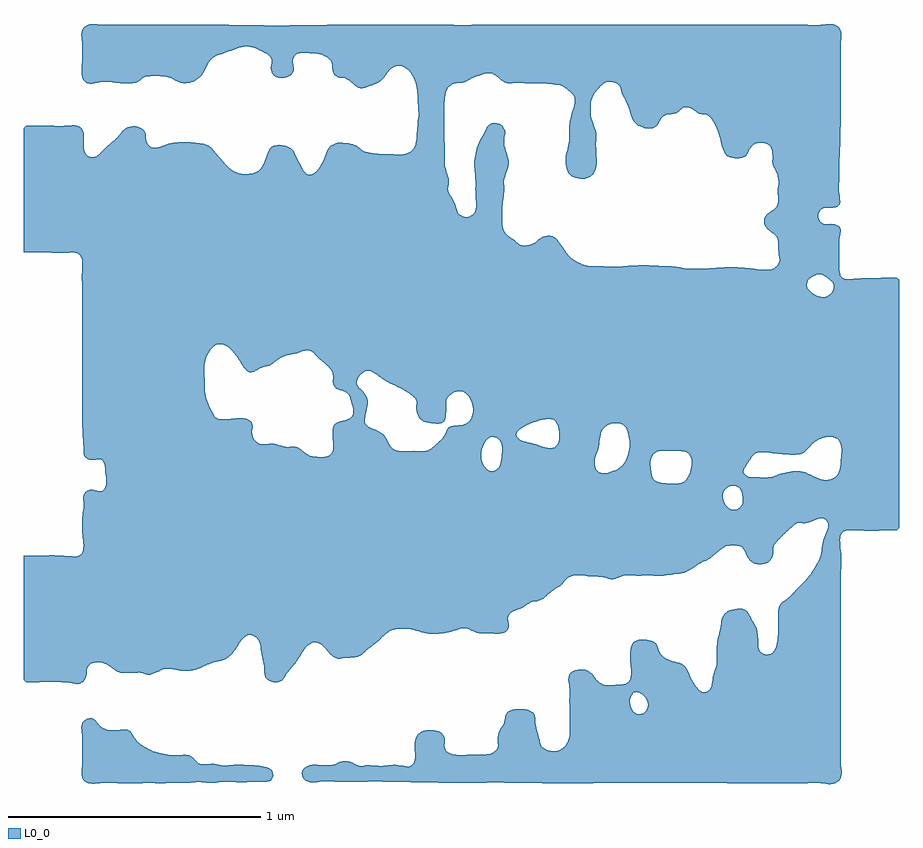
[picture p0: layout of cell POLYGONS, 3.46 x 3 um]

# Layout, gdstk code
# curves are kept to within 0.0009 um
import gdstk
lib = gdstk.Library(unit=1e-6, precision=1e-09)
def R(c, l, rs):  # rectangles x0, y0, x1, y1
    for r in rs: c.add(gdstk.rectangle(r[:2], r[2:], *l))
def P(c, l, *ps):  # polygons
    for p in ps: c.add(gdstk.Polygon(p, *l))
L0_0 = (0, 0)

polygons = lib.new_cell('POLYGONS')
R(polygons, L0_0, [(-0.446,-0.37,-0.29,-0.2), (-0.29,-0.37,-0.13,-0.2), (-0.13,-0.37,0.02,-0.2), (0.159,-0.37,0.293,-0.23), (0.293,-0.37,0.43,-0.23), (-1.499,0.13,-1.3,0.47)])
P(polygons, L0_0, [(-1.47,-1.501),(-1.45,-1.502),(-1.42,-1.499),(-1.36,-1.5),(-1.26,-1.5),(-1.25,-1.499),(-1.17,-1.5),(-1.14,-1.498),(-1.07,-1.499),(-1.04,-1.495),(-1,-1.499),(-0.98,-1.499),(-0.94,-1.494),(-0.89,-1.496),(-0.77,-1.495),(-0.76,-1.493),(-0.755,-1.49),(-0.75,-1.485),(-0.745,-1.47),(-0.746,-1.46),(-0.75,-1.449),(-0.761,-1.44),(-0.77,-1.436),(-0.79,-1.432),(-0.86,-1.427),(-0.9,-1.427),(-0.94,-1.43),(-0.98,-1.423),(-1.03,-1.424),(-1.04,-1.42),(-1.07,-1.393),(-1.08,-1.389),(-1.1,-1.388),(-1.14,-1.39),(-1.16,-1.388),(-1.2,-1.38),(-1.22,-1.373),(-1.24,-1.363),(-1.277,-1.34),(-1.287,-1.33),(-1.305,-1.3),(-1.317,-1.29),(-1.33,-1.287),(-1.36,-1.291),(-1.38,-1.291),(-1.391,-1.29),(-1.41,-1.285),(-1.42,-1.28),(-1.43,-1.272),(-1.45,-1.249),(-1.46,-1.244),(-1.47,-1.243),(-1.48,-1.245),(-1.49,-1.25),(-1.499,-1.26),(-1.502,-1.27),(-1.503,-1.28),(-1.499,-1.32),(-1.499,-1.42),(-1.502,-1.45),(-1.501,-1.47),(-1.499,-1.48),(-1.492,-1.49),(-1.48,-1.498)],
  [(-1.499,1.479),(-1.5,1.475),(-1.501,1.47),(-1.503,1.46),(-1.502,1.45),(-1.501,1.44),(-1.5,1.43),(-1.5,1.429),(-1.499,1.42),(-1.499,1.41)],
  [(-1.499,1.38),(-1.499,1.37),(-1.5,1.36),(-1.5,1.351),(-1.5,1.35),(-1.501,1.34),(-1.501,1.33),(-1.501,1.32),(-1.501,1.31),(-1.501,1.3),(-1.5,1.297),(-1.499,1.292)],
  [(-1.499,1.083),(-1.504,1.09),(-1.51,1.095),(-1.52,1.1),(-1.53,1.101),(-1.58,1.098),(-1.72,1.1),(-1.73,1.09),(-1.73,0.6),(-1.53,0.598),(-1.52,0.596),(-1.51,0.59),(-1.503,0.58),(-1.5,0.57),(-1.499,0.56)],
  [(-1.499,0.45),(-1.499,0.42),(-1.5,0.41),(-1.5,-0.03),(-1.499,-0.04),(-1.499,-0.073),(-1.499,0.544),(-1.499,0.54),(-1.5,0.53),(-1.5,0.52),(-1.501,0.51),(-1.501,0.49),(-1.5,0.48),(-1.5,0.46)],
  [(-1.499,-0.453),(-1.5,-0.46),(-1.5,-0.469),(-1.5,-0.47),(-1.5,-0.48),(-1.5,-0.49),(-1.5,-0.493),(-1.5,-0.5),(-1.499,-0.509)],
  [(-1.51,-1.106),(-1.499,-1.1),(-1.499,-0.587),(-1.5,-0.59),(-1.51,-0.599),(-1.53,-0.604),(-1.61,-0.599),(-1.73,-0.6),(-1.73,-1.09),(-1.72,-1.1),(-1.59,-1.099),(-1.56,-1.101),(-1.52,-1.108)],
  [(-1.45,1.267),(-1.43,1.272),(-1.41,1.274),(-1.39,1.273),(-1.34,1.267),(-1.3,1.268),(-1.3,1.5),(-1.42,1.499),(-1.45,1.502),(-1.47,1.501),(-1.48,1.498),(-1.49,1.492),(-1.499,1.48),(-1.499,1.29),(-1.49,1.275),(-1.48,1.268),(-1.47,1.266)],
  [(-1.3,1.097),(-1.31,1.096),(-1.32,1.093),(-1.33,1.088),(-1.34,1.079),(-1.355,1.06),(-1.375,1.04),(-1.398,1.02),(-1.43,0.988),(-1.442,0.98),(-1.45,0.977),(-1.46,0.976),(-1.47,0.977),(-1.48,0.982),(-1.487,0.99),(-1.49,0.996),(-1.494,1.02),(-1.493,1.05),(-1.494,1.07),(-1.499,1.083),(-1.499,0.47),(-1.3,0.47)],
  [(-1.494,-0.39),(-1.493,-0.4),(-1.499,-0.45),(-1.499,-0.51),(-1.494,-0.56),(-1.496,-0.58),(-1.499,-0.587),(-1.499,-1.1),(-1.49,-1.091),(-1.485,-1.08),(-1.482,-1.07),(-1.481,-1.05),(-1.478,-1.04),(-1.469,-1.03),(-1.46,-1.025),(-1.45,-1.023),(-1.43,-1.022),(-1.402,-1.03),(-1.39,-1.037),(-1.361,-1.06),(-1.35,-1.064),(-1.34,-1.065),(-1.32,-1.063),(-1.3,-1.063),(-1.3,0.13),(-1.499,0.13),(-1.499,-0.09),(-1.494,-0.17),(-1.494,-0.2),(-1.49,-0.21),(-1.48,-0.217),(-1.472,-0.22),(-1.45,-0.221),(-1.43,-0.218),(-1.42,-0.222),(-1.411,-0.24),(-1.404,-0.3),(-1.405,-0.32),(-1.408,-0.33),(-1.41,-0.335),(-1.42,-0.345),(-1.43,-0.346),(-1.46,-0.339),(-1.47,-0.34),(-1.48,-0.344),(-1.488,-0.35),(-1.494,-0.36),(-1.495,-0.37)],
  [(-1.29,1.269),(-1.28,1.273),(-1.26,1.289),(-1.25,1.294),(-1.24,1.296),(-1.2,1.297),(-1.17,1.294),(-1.15,1.289),(-1.13,1.278),(-1.11,1.27),(-1.1,1.268),(-1.073,1.27),(-1.06,1.274),(-1.04,1.287),(-1.028,1.3),(-1.021,1.31),(-1,1.35),(-0.992,1.36),(-0.98,1.371),(-0.98,1.499),(-1.3,1.5),(-1.3,1.268)],
  [(-0.98,1.001),(-0.99,1.012),(-1,1.02),(-1.01,1.025),(-1.02,1.028),(-1.04,1.031),(-1.08,1.035),(-1.11,1.035),(-1.14,1.032),(-1.16,1.028),(-1.18,1.02),(-1.2,1.014),(-1.22,1.013),(-1.23,1.017),(-1.243,1.03),(-1.247,1.04),(-1.249,1.05),(-1.249,1.07),(-1.254,1.08),(-1.26,1.086),(-1.27,1.092),(-1.29,1.097),(-1.3,1.097),(-1.3,0.47),(-0.98,0.47)],
  [(-1.017,0.14),(-1.016,0.16),(-1.01,0.183),(-1,0.203),(-0.988,0.22),(-0.98,0.227),(-0.98,0.47),(-1.3,0.47),(-1.3,0.13),(-1.017,0.13)],
  [(-0.98,-0.044),(-0.993,-0.02),(-1.01,0.02),(-1.015,0.05),(-1.017,0.13),(-1.3,0.13),(-1.3,-0.37),(-0.98,-0.37)],
  [(-1.28,-1.063),(-1.27,-1.064),(-1.24,-1.071),(-1.23,-1.071),(-1.21,-1.064),(-1.18,-1.05),(-1.16,-1.047),(-1.11,-1.055),(-1.09,-1.056),(-1.06,-1.054),(-1.05,-1.052),(-1.01,-1.033),(-0.98,-1.022),(-0.98,-0.37),(-1.3,-0.37),(-1.3,-1.063)],
  [(-0.97,1.377),(-0.874,1.41),(-0.85,1.414),(-0.84,1.413),(-0.82,1.408),(-0.78,1.389),(-0.78,1.497),(-0.98,1.499),(-0.98,1.371)],
  [(-0.78,0.954),(-0.787,0.94),(-0.794,0.93),(-0.806,0.92),(-0.82,0.913),(-0.83,0.91),(-0.85,0.908),(-0.86,0.908),(-0.88,0.911),(-0.901,0.92),(-0.927,0.94),(-0.95,0.968),(-0.972,0.99),(-0.98,1.001),(-0.98,0.47),(-0.78,0.47)],
  [(-0.97,0.233),(-0.96,0.236),(-0.95,0.236),(-0.932,0.23),(-0.92,0.223),(-0.906,0.21),(-0.89,0.19),(-0.86,0.142),(-0.849,0.13),(-0.84,0.126),(-0.83,0.125),(-0.81,0.132),(-0.797,0.14),(-0.78,0.147),(-0.78,0.47),(-0.98,0.47),(-0.98,0.227)],
  [(-0.78,-0.16),(-0.791,-0.16),(-0.8,-0.158),(-0.81,-0.152),(-0.821,-0.14),(-0.826,-0.13),(-0.828,-0.12),(-0.829,-0.11),(-0.826,-0.09),(-0.827,-0.08),(-0.832,-0.07),(-0.84,-0.064),(-0.85,-0.059),(-0.86,-0.057),(-0.89,-0.057),(-0.93,-0.061),(-0.96,-0.06),(-0.97,-0.055),(-0.98,-0.044),(-0.98,-0.37),(-0.78,-0.37)],
  [(-0.97,-1.02),(-0.95,-1.016),(-0.935,-1.01),(-0.92,-1),(-0.909,-0.99),(-0.893,-0.97),(-0.881,-0.95),(-0.866,-0.93),(-0.85,-0.916),(-0.84,-0.913),(-0.83,-0.914),(-0.82,-0.918),(-0.81,-0.925),(-0.799,-0.94),(-0.795,-0.95),(-0.79,-0.99),(-0.78,-1.035),(-0.78,-0.37),(-0.98,-0.37),(-0.98,-1.022)],
  [(-0.7,1.289),(-0.69,1.292),(-0.68,1.297),(-0.676,1.3),(-0.668,1.31),(-0.664,1.32),(-0.663,1.33),(-0.667,1.35),(-0.667,1.36),(-0.664,1.37),(-0.656,1.38),(-0.65,1.384),(-0.63,1.389),(-0.6,1.387),(-0.6,1.498),(-0.69,1.496),(-0.78,1.497),(-0.78,1.389),(-0.76,1.377),(-0.754,1.37),(-0.75,1.361),(-0.75,1.349),(-0.754,1.33),(-0.753,1.32),(-0.75,1.31),(-0.74,1.297),(-0.73,1.291),(-0.71,1.288)],
  [(-0.6,0.906),(-0.61,0.908),(-0.62,0.915),(-0.624,0.92),(-0.666,1),(-0.675,1.01),(-0.68,1.013),(-0.69,1.018),(-0.7,1.021),(-0.72,1.024),(-0.73,1.023),(-0.74,1.021),(-0.75,1.016),(-0.763,1),(-0.78,0.954),(-0.78,0.47),(-0.6,0.47)],
  [(-0.77,0.149),(-0.76,0.151),(-0.75,0.156),(-0.72,0.179),(-0.69,0.193),(-0.66,0.198),(-0.627,0.21),(-0.61,0.212),(-0.6,0.211),(-0.6,0.47),(-0.78,0.47),(-0.78,0.147)],
  [(-0.6,-0.205),(-0.61,-0.2),(-0.64,-0.177),(-0.65,-0.172),(-0.66,-0.169),(-0.69,-0.171),(-0.73,-0.16),(-0.75,-0.157),(-0.76,-0.157),(-0.78,-0.16),(-0.78,-0.37),(-0.6,-0.37)],
  [(-0.73,-1.101),(-0.72,-1.099),(-0.71,-1.094),(-0.706,-1.09),(-0.7,-1.083),(-0.686,-1.06),(-0.66,-1.029),(-0.65,-1.015),(-0.621,-0.97),(-0.61,-0.957),(-0.6,-0.95),(-0.6,-0.37),(-0.78,-0.37),(-0.78,-1.035),(-0.779,-1.06),(-0.778,-1.07),(-0.775,-1.08),(-0.767,-1.09),(-0.76,-1.095),(-0.75,-1.099),(-0.74,-1.101)],
  [(-0.6,-1.429),(-0.62,-1.439),(-0.629,-1.45),(-0.631,-1.46),(-0.63,-1.47),(-0.625,-1.48),(-0.62,-1.486),(-0.61,-1.493),(-0.6,-1.497)],
  [(-0.446,1.499),(-0.6,1.498),(-0.6,1.387),(-0.59,1.387),(-0.56,1.383),(-0.55,1.38),(-0.53,1.37),(-0.519,1.36),(-0.514,1.35),(-0.51,1.319),(-0.507,1.31),(-0.501,1.3),(-0.49,1.292),(-0.46,1.287),(-0.446,1.28)],
  [(-0.446,1.03),(-0.47,1.032),(-0.49,1.032),(-0.51,1.025),(-0.52,1.017),(-0.531,1),(-0.546,0.96),(-0.56,0.936),(-0.57,0.923),(-0.58,0.913),(-0.59,0.908),(-0.6,0.906),(-0.6,0.47),(-0.446,0.47)],
  [(-0.5,0.065),(-0.49,0.057),(-0.46,0.048),(-0.45,0.041),(-0.446,0.036),(-0.446,0.47),(-0.6,0.47),(-0.6,0.211),(-0.59,0.206),(-0.583,0.2),(-0.564,0.18),(-0.53,0.151),(-0.52,0.14),(-0.51,0.121),(-0.508,0.11),(-0.509,0.09),(-0.508,0.08),(-0.504,0.07)],
  [(-0.53,-0.208),(-0.54,-0.21),(-0.56,-0.211),(-0.58,-0.21),(-0.6,-0.205),(-0.6,-0.37),(-0.446,-0.37),(-0.446,-0.059),(-0.46,-0.065),(-0.49,-0.072),(-0.502,-0.08),(-0.508,-0.09),(-0.51,-0.1),(-0.508,-0.18),(-0.51,-0.19),(-0.516,-0.2),(-0.52,-0.204)],
  [(-0.58,-0.943),(-0.57,-0.944),(-0.55,-0.954),(-0.52,-0.988),(-0.51,-0.998),(-0.5,-1.004),(-0.49,-1.008),(-0.446,-1.003),(-0.446,-0.37),(-0.6,-0.37),(-0.6,-0.95),(-0.59,-0.945)],
  [(-0.58,-1.497),(-0.56,-1.494),(-0.53,-1.492),(-0.49,-1.495),(-0.446,-1.494),(-0.446,-1.415),(-0.47,-1.413),(-0.48,-1.415),(-0.5,-1.424),(-0.51,-1.427),(-0.53,-1.429),(-0.55,-1.429),(-0.58,-1.426),(-0.6,-1.429),(-0.6,-1.497),(-0.59,-1.498)],
  [(-0.38,1.25),(-0.34,1.265),(-0.32,1.277),(-0.31,1.287),(-0.29,1.314),(-0.29,1.5),(-0.446,1.499),(-0.446,1.28),(-0.42,1.258),(-0.408,1.25),(-0.4,1.247),(-0.39,1.247)],
  [(-0.29,0.987),(-0.32,0.987),(-0.35,0.99),(-0.38,0.996),(-0.39,1),(-0.42,1.023),(-0.43,1.027),(-0.446,1.03),(-0.446,0.47),(-0.29,0.47)],
  [(-0.415,0.09),(-0.41,0.102),(-0.4,0.115),(-0.38,0.129),(-0.37,0.131),(-0.36,0.13),(-0.35,0.126),(-0.328,0.11),(-0.29,0.086),(-0.29,0.47),(-0.446,0.47),(-0.446,0.08),(-0.415,0.08)],
  [(-0.29,-0.152),(-0.302,-0.13),(-0.311,-0.12),(-0.325,-0.11),(-0.37,-0.089),(-0.379,-0.08),(-0.383,-0.07),(-0.383,-0.06),(-0.376,-0.03),(-0.371,0),(-0.371,0.01),(-0.373,0.02),(-0.377,0.03),(-0.382,0.04),(-0.39,0.05),(-0.402,0.06),(-0.411,0.07),(-0.415,0.08),(-0.446,0.08),(-0.446,0.036),(-0.44,0.024),(-0.43,-0.009),(-0.428,-0.02),(-0.43,-0.043),(-0.434,-0.05),(-0.44,-0.056),(-0.446,-0.059),(-0.446,-0.2),(-0.29,-0.2)],
  [(-0.44,-1.003),(-0.413,-1),(-0.4,-0.996),(-0.37,-0.97),(-0.34,-0.947),(-0.302,-0.91),(-0.29,-0.902),(-0.29,-0.37),(-0.446,-0.37),(-0.446,-1.003)],
  [(-0.39,-1.495),(-0.36,-1.493),(-0.29,-1.494),(-0.29,-1.429),(-0.3,-1.431),(-0.32,-1.432),(-0.37,-1.428),(-0.38,-1.429),(-0.39,-1.432),(-0.4,-1.432),(-0.41,-1.429),(-0.43,-1.419),(-0.446,-1.415),(-0.446,-1.494)],
  [(-0.28,1.325),(-0.26,1.335),(-0.24,1.336),(-0.23,1.333),(-0.223,1.33),(-0.209,1.32),(-0.2,1.31),(-0.188,1.29),(-0.18,1.267),(-0.176,1.25),(-0.173,1.22),(-0.17,1.14),(-0.178,1.04),(-0.18,1.028),(-0.19,1.006),(-0.2,0.997),(-0.21,0.992),(-0.23,0.987),(-0.24,0.986),(-0.29,0.987),(-0.29,0.47),(-0.13,0.47),(-0.13,1.499),(-0.29,1.5),(-0.29,1.314)],
  [(-0.13,0.47),(-0.29,0.47),(-0.29,0.086),(-0.27,0.075),(-0.237,0.06),(-0.22,0.05),(-0.191,0.03),(-0.181,0.02),(-0.177,0.01),(-0.178,-0.02),(-0.174,-0.04),(-0.17,-0.05),(-0.164,-0.06),(-0.15,-0.07),(-0.13,-0.075)],
  [(-0.13,-0.183),(-0.15,-0.188),(-0.19,-0.186),(-0.23,-0.188),(-0.25,-0.186),(-0.26,-0.184),(-0.27,-0.179),(-0.28,-0.169),(-0.29,-0.152),(-0.29,-0.2),(-0.13,-0.2)],
  [(-0.28,-0.897),(-0.25,-0.89),(-0.22,-0.889),(-0.19,-0.894),(-0.17,-0.9),(-0.13,-0.908),(-0.13,-0.37),(-0.29,-0.37),(-0.29,-0.902)],
  [(-0.16,-1.496),(-0.13,-1.496),(-0.13,-1.29),(-0.15,-1.293),(-0.16,-1.297),(-0.17,-1.305),(-0.174,-1.31),(-0.18,-1.322),(-0.183,-1.33),(-0.185,-1.35),(-0.182,-1.4),(-0.184,-1.41),(-0.19,-1.423),(-0.2,-1.431),(-0.21,-1.434),(-0.26,-1.427),(-0.29,-1.429),(-0.29,-1.494)],
  [(-0.069,1.16),(-0.069,1.18),(-0.066,1.21),(-0.06,1.238),(-0.054,1.25),(-0.04,1.261),(-0.03,1.265),(-0.01,1.269),(0,1.269),(0.01,1.271),(0.02,1.276),(0.02,1.498),(-0.13,1.499),(-0.13,1.15),(-0.069,1.15)],
  [(0.02,0.738),(0.007,0.74),(0,0.743),(-0.01,0.75),(-0.016,0.76),(-0.025,0.79),(-0.03,0.801),(-0.048,0.83),(-0.052,0.84),(-0.054,0.85),(-0.053,0.86),(-0.05,0.87),(-0.051,0.89),(-0.066,0.94),(-0.067,0.95),(-0.066,1.01),(-0.068,1.04),(-0.069,1.15),(-0.13,1.15),(-0.13,0.47),(0.02,0.47)],
  [(-0.09,-0.078),(-0.08,-0.076),(-0.07,-0.07),(-0.065,-0.06),(-0.061,-0.03),(-0.061,0.01),(-0.058,0.02),(-0.051,0.03),(-0.04,0.039),(-0.03,0.045),(-0.01,0.05),(0,0.049),(0.01,0.046),(0.02,0.039),(0.02,0.47),(-0.13,0.47),(-0.13,-0.075),(-0.12,-0.077)],
  [(-0.071,-0.13),(-0.078,-0.14),(-0.11,-0.17),(-0.12,-0.178),(-0.13,-0.183),(-0.13,-0.2),(0.02,-0.2),(0.02,-0.076),(0.01,-0.081),(0,-0.084),(-0.03,-0.087),(-0.044,-0.09),(-0.05,-0.093),(-0.056,-0.1)],
  [(-0.1,-0.909),(-0.06,-0.905),(-0.04,-0.901),(0,-0.888),(0.01,-0.887),(0.02,-0.888),(0.02,-0.37),(-0.13,-0.37),(-0.13,-0.908)],
  [(0.02,-1.388),(-0.01,-1.389),(-0.03,-1.387),(-0.051,-1.38),(-0.06,-1.373),(-0.067,-1.36),(-0.068,-1.35),(-0.066,-1.33),(-0.067,-1.32),(-0.07,-1.313),(-0.08,-1.3),(-0.09,-1.295),(-0.1,-1.292),(-0.13,-1.29),(-0.13,-1.496),(-0.09,-1.498),(0.02,-1.498)],
  [(0.026,1.28),(0.05,1.292),(0.09,1.305),(0.11,1.308),(0.12,1.307),(0.13,1.302),(0.147,1.29),(0.159,1.279),(0.159,1.5),(0.02,1.498),(0.02,1.276)],
  [(0.159,1.101),(0.15,1.107),(0.14,1.11),(0.13,1.111),(0.12,1.109),(0.11,1.104),(0.1,1.093),(0.084,1.06),(0.072,1.04),(0.064,1.02),(0.058,1),(0.051,0.96),(0.051,0.94),(0.056,0.88),(0.055,0.85),(0.058,0.8),(0.057,0.77),(0.054,0.76),(0.047,0.75),(0.03,0.74),(0.02,0.738),(0.02,0.47),(0.159,0.47)],
  [(0.159,0.47),(0.02,0.47),(0.02,0.039),(0.03,0.027),(0.039,0.01),(0.043,0),(0.046,-0.02),(0.046,-0.03),(0.04,-0.053),(0.03,-0.068),(0.02,-0.076),(0.02,-0.12),(0.159,-0.12)],
  [(0.079,-0.19),(0.084,-0.17),(0.09,-0.156),(0.1,-0.141),(0.11,-0.133),(0.12,-0.13),(0.13,-0.131),(0.14,-0.134),(0.148,-0.14),(0.156,-0.15),(0.159,-0.163),(0.159,-0.12),(0.02,-0.12),(0.02,-0.2),(0.078,-0.2)],
  [(0.15,-0.248),(0.139,-0.26),(0.13,-0.264),(0.12,-0.266),(0.11,-0.264),(0.1,-0.258),(0.086,-0.24),(0.079,-0.22),(0.078,-0.2),(0.02,-0.2),(0.02,-0.37),(0.159,-0.37),(0.159,-0.21),(0.154,-0.24)],
  [(0.15,-0.908),(0.159,-0.907),(0.159,-0.37),(0.02,-0.37),(0.02,-0.888),(0.05,-0.901),(0.07,-0.906)],
  [(0.03,-1.498),(0.159,-1.497),(0.159,-1.278),(0.15,-1.294),(0.143,-1.32),(0.145,-1.35),(0.143,-1.36),(0.137,-1.37),(0.13,-1.376),(0.12,-1.382),(0.11,-1.385),(0.09,-1.387),(0.08,-1.386),(0.02,-1.388),(0.02,-1.498)],
  [(0.28,1.267),(0.293,1.267),(0.293,1.5),(0.159,1.5),(0.159,1.279),(0.174,1.27),(0.19,1.267),(0.22,1.27),(0.26,1.267)],
  [(0.293,0.64),(0.273,0.63),(0.26,0.627),(0.25,0.626),(0.24,0.627),(0.23,0.63),(0.21,0.646),(0.19,0.659),(0.177,0.67),(0.17,0.68),(0.163,0.7),(0.161,0.72),(0.162,0.78),(0.17,0.85),(0.168,0.88),(0.172,0.9),(0.182,0.93),(0.186,0.95),(0.186,0.96),(0.17,1.02),(0.169,1.05),(0.171,1.06),(0.172,1.08),(0.168,1.09),(0.161,1.1),(0.159,1.101),(0.159,0.47),(0.293,0.47)],
  [(0.22,-0.112),(0.231,-0.1),(0.246,-0.09),(0.27,-0.078),(0.293,-0.07),(0.293,0.47),(0.159,0.47),(0.159,-0.12),(0.217,-0.12)],
  [(0.293,-0.16),(0.27,-0.153),(0.25,-0.149),(0.228,-0.14),(0.219,-0.13),(0.217,-0.12),(0.159,-0.12),(0.159,-0.163),(0.161,-0.17),(0.159,-0.23),(0.293,-0.23)],
  [(0.16,-0.907),(0.17,-0.904),(0.176,-0.9),(0.184,-0.89),(0.187,-0.88),(0.187,-0.87),(0.182,-0.85),(0.184,-0.84),(0.19,-0.829),(0.2,-0.822),(0.23,-0.811),(0.25,-0.801),(0.27,-0.786),(0.28,-0.782),(0.293,-0.78),(0.293,-0.37),(0.159,-0.37),(0.159,-0.907)],
  [(0.293,-1.27),(0.292,-1.25),(0.289,-1.23),(0.28,-1.219),(0.27,-1.213),(0.261,-1.21),(0.24,-1.207),(0.21,-1.208),(0.2,-1.21),(0.19,-1.214),(0.181,-1.22),(0.174,-1.23),(0.169,-1.26),(0.165,-1.27),(0.159,-1.278),(0.159,-1.497),(0.293,-1.499)],
  [(0.43,1.5),(0.293,1.5),(0.293,1.267),(0.32,1.268),(0.391,1.26),(0.41,1.25),(0.43,1.234)],
  [(0.43,1.121),(0.429,1.12),(0.426,1.09),(0.427,1.05),(0.425,1.03),(0.421,1.01),(0.415,0.99),(0.412,0.97),(0.413,0.95),(0.417,0.93),(0.42,0.92),(0.425,0.91),(0.43,0.905)],
  [(0.43,0.58),(0.413,0.6),(0.393,0.63),(0.38,0.646),(0.37,0.656),(0.36,0.662),(0.35,0.665),(0.34,0.665),(0.33,0.663),(0.31,0.653),(0.293,0.64),(0.293,0.47),(0.43,0.47)],
  [(0.43,0.47),(0.293,0.47),(0.293,-0.07),(0.33,-0.06),(0.35,-0.059),(0.36,-0.061),(0.37,-0.067),(0.379,-0.08),(0.385,-0.1),(0.387,-0.12),(0.387,-0.13),(0.384,-0.15),(0.38,-0.16),(0.37,-0.171),(0.36,-0.174),(0.35,-0.175),(0.34,-0.174),(0.32,-0.17),(0.293,-0.16),(0.293,-0.23),(0.43,-0.23)],
  [(0.296,-0.78),(0.31,-0.777),(0.33,-0.765),(0.357,-0.74),(0.37,-0.731),(0.39,-0.721),(0.42,-0.688),(0.43,-0.683),(0.43,-0.37),(0.293,-0.37),(0.293,-0.78)],
  [(0.428,-1.2),(0.429,-1.29),(0.428,-1.31),(0.426,-1.32),(0.42,-1.339),(0.413,-1.35),(0.403,-1.36),(0.39,-1.368),(0.38,-1.372),(0.37,-1.374),(0.36,-1.374),(0.342,-1.37),(0.323,-1.36),(0.32,-1.357),(0.314,-1.35),(0.293,-1.27),(0.293,-1.499),(0.43,-1.5),(0.43,-1.067),(0.427,-1.07),(0.424,-1.08),(0.423,-1.09),(0.429,-1.14),(0.427,-1.17)],
  [(0.49,0.891),(0.5,0.894),(0.51,0.899),(0.52,0.908),(0.53,0.927),(0.533,0.94),(0.534,0.97),(0.531,1.02),(0.533,1.07),(0.52,1.109),(0.512,1.14),(0.512,1.19),(0.516,1.21),(0.52,1.22),(0.53,1.234),(0.55,1.257),(0.56,1.265),(0.57,1.271),(0.58,1.273),(0.58,1.5),(0.43,1.5),(0.43,1.234),(0.443,1.22),(0.447,1.21),(0.448,1.2),(0.443,1.17),(0.436,1.15),(0.43,1.123),(0.43,0.905),(0.436,0.9),(0.45,0.894),(0.47,0.891)],
  [(0.58,0.543),(0.52,0.544),(0.49,0.548),(0.48,0.551),(0.45,0.565),(0.44,0.571),(0.43,0.58),(0.43,0.47),(0.58,0.47)],
  [(0.527,-0.22),(0.529,-0.21),(0.541,-0.18),(0.546,-0.14),(0.553,-0.11),(0.559,-0.1),(0.57,-0.089),(0.58,-0.083),(0.58,0.47),(0.43,0.47),(0.43,-0.23),(0.526,-0.23)],
  [(0.58,-0.272),(0.57,-0.275),(0.56,-0.275),(0.55,-0.273),(0.54,-0.269),(0.53,-0.256),(0.526,-0.24),(0.526,-0.23),(0.43,-0.23),(0.43,-0.37),(0.58,-0.37)],
  [(0.58,-0.37),(0.43,-0.37),(0.43,-0.683),(0.44,-0.679),(0.45,-0.677),(0.47,-0.677),(0.5,-0.681),(0.53,-0.682),(0.56,-0.685),(0.58,-0.691)],
  [(0.58,-1.112),(0.57,-1.112),(0.56,-1.11),(0.55,-1.105),(0.533,-1.09),(0.518,-1.07),(0.5,-1.056),(0.49,-1.052),(0.48,-1.051),(0.46,-1.052),(0.45,-1.054),(0.44,-1.058),(0.43,-1.066),(0.43,-1.18),(0.58,-1.18)],
  [(0.43,-1.5),(0.58,-1.499),(0.58,-1.18),(0.43,-1.18)],
  [(0.733,1.499),(0.58,1.5),(0.58,1.273),(0.59,1.273),(0.61,1.269),(0.623,1.26),(0.629,1.25),(0.634,1.23),(0.638,1.22),(0.66,1.177),(0.671,1.14),(0.68,1.12),(0.69,1.107),(0.699,1.1),(0.72,1.091),(0.73,1.089),(0.733,1.089)],
  [(0.733,0.548),(0.7,0.548),(0.61,0.542),(0.58,0.543),(0.58,0.47),(0.733,0.47)],
  [(0.59,-0.079),(0.6,-0.076),(0.62,-0.076),(0.63,-0.078),(0.64,-0.083),(0.648,-0.09),(0.654,-0.1),(0.66,-0.123),(0.665,-0.15),(0.665,-0.17),(0.664,-0.18),(0.659,-0.2),(0.651,-0.22),(0.64,-0.239),(0.629,-0.25),(0.61,-0.262),(0.58,-0.272),(0.58,-0.37),(0.733,-0.37),(0.733,0.47),(0.58,0.47),(0.58,-0.083)],
  [(0.6,-0.693),(0.61,-0.691),(0.637,-0.68),(0.65,-0.677),(0.67,-0.677),(0.69,-0.679),(0.733,-0.678),(0.733,-0.37),(0.58,-0.37),(0.58,-0.691),(0.59,-0.694)],
  [(0.666,-1.17),(0.67,-1.158),(0.68,-1.143),(0.69,-1.139),(0.7,-1.141),(0.716,-1.15),(0.733,-1.169),(0.733,-0.933),(0.73,-0.932),(0.7,-0.933),(0.684,-0.94),(0.68,-0.943),(0.675,-0.95),(0.671,-0.96),(0.668,-0.98),(0.668,-1.02),(0.671,-1.05),(0.671,-1.07),(0.67,-1.08),(0.667,-1.09),(0.66,-1.1),(0.65,-1.106),(0.64,-1.109),(0.62,-1.111),(0.58,-1.112),(0.58,-1.18),(0.666,-1.18)],
  [(0.6,-1.499),(0.733,-1.499),(0.733,-1.21),(0.72,-1.223),(0.71,-1.226),(0.7,-1.227),(0.69,-1.225),(0.683,-1.22),(0.675,-1.21),(0.67,-1.2),(0.667,-1.19),(0.666,-1.18),(0.58,-1.18),(0.58,-1.499)],
  [(0.75,1.089),(0.76,1.091),(0.77,1.098),(0.779,1.11),(0.79,1.13),(0.802,1.14),(0.81,1.143),(0.84,1.147),(0.85,1.15),(0.87,1.167),(0.88,1.172),(0.89,1.173),(0.903,1.17),(0.91,1.166),(0.91,1.5),(0.733,1.499),(0.733,1.089),(0.74,1.088)],
  [(0.91,0.534),(0.88,0.536),(0.85,0.542),(0.83,0.544),(0.733,0.548),(0.733,0.47),(0.91,0.47)],
  [(0.747,-0.23),(0.748,-0.22),(0.758,-0.2),(0.771,-0.19),(0.79,-0.185),(0.83,-0.185),(0.88,-0.188),(0.89,-0.192),(0.901,-0.2),(0.907,-0.21),(0.91,-0.22),(0.91,-0.226),(0.91,0.47),(0.733,0.47),(0.733,-0.24),(0.747,-0.24)],
  [(0.9,-0.28),(0.888,-0.3),(0.88,-0.307),(0.87,-0.312),(0.85,-0.315),(0.82,-0.315),(0.78,-0.31),(0.77,-0.306),(0.761,-0.3),(0.754,-0.29),(0.747,-0.24),(0.733,-0.24),(0.733,-0.37),(0.91,-0.37),(0.91,-0.239),(0.907,-0.26)],
  [(0.79,-0.68),(0.87,-0.67),(0.89,-0.663),(0.91,-0.652),(0.91,-0.37),(0.733,-0.37),(0.733,-0.678)],
  [(0.91,-1.09),(0.891,-1.05),(0.88,-1.036),(0.87,-1.028),(0.86,-1.024),(0.83,-1.016),(0.81,-1.008),(0.8,-1.002),(0.788,-0.99),(0.782,-0.98),(0.771,-0.95),(0.759,-0.94),(0.75,-0.936),(0.733,-0.933),(0.733,-1.17),(0.737,-1.18),(0.738,-1.19),(0.737,-1.2),(0.733,-1.21),(0.733,-1.499),(0.91,-1.499)],
  [(1.1,0.971),(1.1,1.499),(0.91,1.5),(0.91,1.166),(0.94,1.148),(0.97,1.144),(0.98,1.138),(1,1.111),(1.01,1.09),(1.02,1.061),(1.03,1.019),(1.036,1),(1.041,0.99),(1.05,0.98),(1.06,0.976),(1.07,0.973)],
  [(1.1,0.539),(1.06,0.541),(0.97,0.535),(0.91,0.534),(0.91,0.47),(1.1,0.47)],
  [(1.1,0.47),(0.91,0.47),(0.91,-0.226),(0.91,-0.23),(0.91,-0.239),(0.91,-0.27),(1.1,-0.27)],
  [(1.032,-0.36),(1.035,-0.35),(1.041,-0.34),(1.052,-0.33),(1.06,-0.326),(1.07,-0.324),(1.08,-0.324),(1.09,-0.327),(1.1,-0.334),(1.1,-0.27),(0.91,-0.27),(0.91,-0.37),(1.032,-0.37)],
  [(0.914,-0.65),(0.95,-0.627),(0.968,-0.62),(0.98,-0.613),(1.04,-0.565),(1.05,-0.561),(1.07,-0.559),(1.091,-0.56),(1.1,-0.562),(1.1,-0.411),(1.09,-0.416),(1.08,-0.419),(1.07,-0.418),(1.06,-0.414),(1.05,-0.406),(1.038,-0.39),(1.034,-0.38),(1.032,-0.37),(0.91,-0.37),(0.91,-0.652)],
  [(1.1,-0.81),(1.08,-0.812),(1.06,-0.816),(1.051,-0.82),(1.04,-0.83),(1.03,-0.85),(1.027,-0.87),(1.012,-0.94),(1.01,-0.959),(1.009,-1.03),(1.007,-1.04),(0.994,-1.08),(0.992,-1.1),(0.988,-1.12),(0.98,-1.133),(0.97,-1.138),(0.96,-1.14),(0.95,-1.138),(0.94,-1.132),(0.929,-1.12),(0.91,-1.09),(0.91,-1.499),(1.1,-1.5)],
  [(1.12,0.977),(1.13,0.988),(1.141,1.01),(1.15,1.021),(1.16,1.028),(1.17,1.031),(1.18,1.032),(1.2,1.031),(1.21,1.027),(1.219,1.02),(1.225,1.01),(1.228,1),(1.23,0.98),(1.229,0.96),(1.23,0.949),(1.236,0.933),(1.236,1.499),(1.1,1.499),(1.1,0.971),(1.11,0.973)],
  [(1.236,0.77),(1.208,0.75),(1.201,0.74),(1.198,0.73),(1.197,0.72),(1.198,0.71),(1.21,0.69),(1.236,0.67)],
  [(1.236,0.537),(1.22,0.531),(1.19,0.53),(1.17,0.533),(1.1,0.539),(1.1,0.47),(1.236,0.47)],
  [(1.116,-0.26),(1.12,-0.251),(1.13,-0.235),(1.148,-0.21),(1.16,-0.198),(1.17,-0.193),(1.18,-0.191),(1.2,-0.191),(1.236,-0.196),(1.236,0.47),(1.1,0.47),(1.1,-0.27),(1.115,-0.27)],
  [(1.19,-0.634),(1.2,-0.632),(1.21,-0.628),(1.22,-0.619),(1.231,-0.6),(1.232,-0.57),(1.236,-0.558),(1.236,-0.286),(1.221,-0.29),(1.2,-0.292),(1.14,-0.29),(1.13,-0.287),(1.121,-0.28),(1.115,-0.27),(1.1,-0.27),(1.1,-0.334),(1.104,-0.34),(1.11,-0.355),(1.113,-0.37),(1.112,-0.39),(1.11,-0.397),(1.109,-0.4),(1.1,-0.411),(1.1,-0.562),(1.11,-0.567),(1.113,-0.57),(1.13,-0.604),(1.14,-0.618),(1.15,-0.627),(1.16,-0.632),(1.17,-0.634),(1.18,-0.635)],
  [(1.236,-1.5),(1.236,-0.976),(1.23,-0.984),(1.22,-0.989),(1.21,-0.991),(1.2,-0.99),(1.19,-0.986),(1.182,-0.98),(1.176,-0.97),(1.174,-0.96),(1.171,-0.91),(1.167,-0.89),(1.163,-0.88),(1.14,-0.837),(1.13,-0.821),(1.12,-0.814),(1.11,-0.811),(1.1,-0.81),(1.1,-1.5)],
  [(1.367,0.48),(1.372,0.49),(1.382,0.5),(1.39,0.505),(1.39,1.498),(1.236,1.499),(1.236,0.933),(1.248,0.91),(1.251,0.9),(1.254,0.88),(1.254,0.87),(1.251,0.85),(1.252,0.82),(1.251,0.79),(1.246,0.78),(1.236,0.77),(1.236,0.67),(1.246,0.66),(1.25,0.651),(1.253,0.63),(1.253,0.61),(1.255,0.59),(1.259,0.57),(1.257,0.56),(1.25,0.548),(1.236,0.537),(1.236,0.47),(1.365,0.47)],
  [(1.32,-0.201),(1.34,-0.199),(1.35,-0.196),(1.36,-0.188),(1.39,-0.155),(1.39,0.436),(1.384,0.44),(1.374,0.45),(1.368,0.46),(1.365,0.47),(1.236,0.47),(1.236,-0.196),(1.28,-0.2)],
  [(1.24,-0.553),(1.25,-0.541),(1.29,-0.501),(1.32,-0.475),(1.33,-0.47),(1.36,-0.472),(1.37,-0.47),(1.39,-0.462),(1.39,-0.286),(1.36,-0.271),(1.34,-0.266),(1.31,-0.266),(1.27,-0.274),(1.236,-0.286),(1.236,-0.558)],
  [(1.35,-1.5),(1.39,-1.499),(1.39,-0.658),(1.37,-0.687),(1.35,-0.71),(1.3,-0.76),(1.29,-0.769),(1.27,-0.783),(1.263,-0.79),(1.257,-0.8),(1.254,-0.81),(1.252,-0.83),(1.253,-0.88),(1.251,-0.93),(1.247,-0.95),(1.241,-0.97),(1.236,-0.976),(1.236,-1.5)],
  [(1.402,0.51),(1.41,0.512),(1.42,0.512),(1.43,0.509),(1.44,0.503),(1.468,0.48),(1.472,0.47),(1.472,0.46),(1.469,0.45),(1.46,0.436),(1.45,0.428),(1.44,0.424),(1.43,0.422),(1.42,0.423),(1.4,0.43),(1.39,0.436),(1.39,-0.155),(1.41,-0.141),(1.43,-0.134),(1.45,-0.13),(1.47,-0.131),(1.48,-0.135),(1.49,-0.141),(1.498,-0.155),(1.498,0.508),(1.495,0.52),(1.493,0.54),(1.494,0.65),(1.498,0.67),(1.498,0.692),(1.495,0.7),(1.49,0.705),(1.48,0.709),(1.46,0.712),(1.45,0.711),(1.43,0.712),(1.418,0.72),(1.413,0.73),(1.411,0.74),(1.411,0.75),(1.414,0.76),(1.42,0.768),(1.43,0.774),(1.47,0.776),(1.485,0.78),(1.49,0.783),(1.495,0.79),(1.497,0.8),(1.492,0.84),(1.492,0.87),(1.493,0.95),(1.496,0.99),(1.498,1.06),(1.498,1.48),(1.492,1.49),(1.48,1.498),(1.475,1.5),(1.46,1.502),(1.41,1.498),(1.39,1.498),(1.39,0.505)],
  [(1.4,-0.458),(1.42,-0.453),(1.43,-0.453),(1.443,-0.46),(1.449,-0.47),(1.451,-0.48),(1.45,-0.49),(1.434,-0.53),(1.428,-0.55),(1.423,-0.59),(1.417,-0.61),(1.41,-0.625),(1.39,-0.658),(1.39,-1.499),(1.43,-1.5),(1.44,-1.502),(1.46,-1.503),(1.47,-1.502),(1.48,-1.499),(1.49,-1.493),(1.498,-1.481),(1.498,-0.569),(1.496,-0.54),(1.498,-0.523),(1.498,-0.244),(1.492,-0.27),(1.487,-0.28),(1.48,-0.288),(1.46,-0.298),(1.44,-0.301),(1.43,-0.3),(1.41,-0.295),(1.39,-0.286),(1.39,-0.462)],
  [(1.499,1.1),(1.499,1.17),(1.5,1.18),(1.5,1.35),(1.499,1.36),(1.499,1.42),(1.5,1.43),(1.5,1.433),(1.501,1.44),(1.502,1.45),(1.502,1.46),(1.501,1.47),(1.5,1.475),(1.498,1.48),(1.498,1.09)],
  [(1.499,0.68),(1.499,0.69),(1.498,0.692),(1.498,0.674)],
  [(1.499,-0.52),(1.505,-0.51),(1.51,-0.506),(1.527,-0.5),(1.56,-0.499),(1.61,-0.502),(1.66,-0.5),(1.71,-0.5),(1.72,-0.499),(1.73,-0.49),(1.73,0.49),(1.72,0.499),(1.71,0.5),(1.65,0.497),(1.6,0.497),(1.53,0.492),(1.52,0.493),(1.51,0.496),(1.504,0.5),(1.498,0.508),(1.498,-0.155),(1.5,-0.159),(1.503,-0.18),(1.5,-0.23),(1.498,-0.244),(1.498,-0.523)],
  [(1.499,-1.48),(1.502,-1.47),(1.503,-1.46),(1.503,-1.45),(1.501,-1.44),(1.5,-1.43),(1.5,-1.42),(1.499,-1.41),(1.499,-1.37),(1.5,-1.36),(1.5,-1.32),(1.499,-1.31),(1.499,-1.18),(1.5,-1.17),(1.5,-0.73),(1.499,-0.72),(1.499,-0.7),(1.5,-0.69),(1.5,-0.66),(1.501,-0.65),(1.501,-0.64),(1.502,-0.63),(1.502,-0.6),(1.5,-0.582),(1.5,-0.58),(1.498,-0.569),(1.498,-1.481)])

lib.write_gds('POLYGONS.gds')
